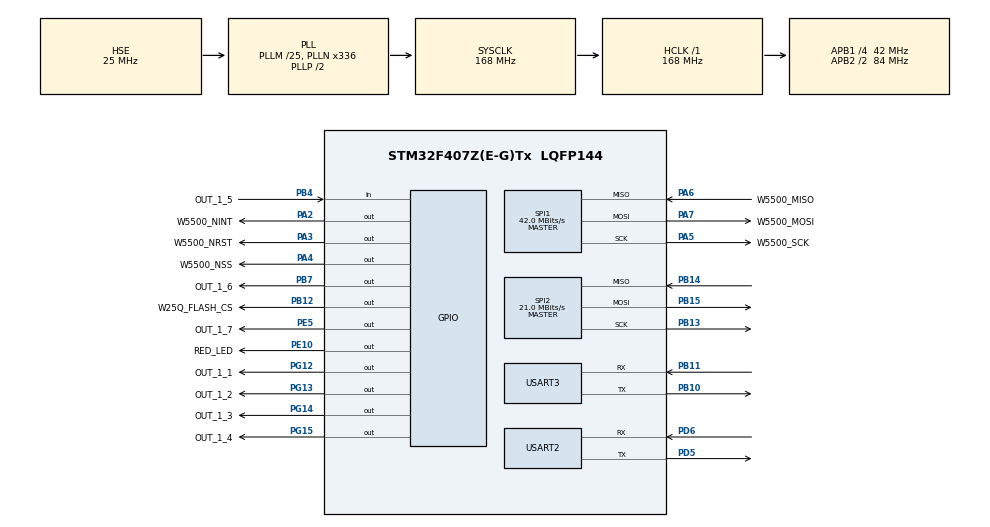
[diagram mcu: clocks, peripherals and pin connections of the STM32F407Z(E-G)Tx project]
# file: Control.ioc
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Dma.Request0=SPI1_RX
Dma.Request1=SPI1_TX
Dma.Request2=USART2_RX
Dma.Request3=USART2_TX
Dma.Request4=USART3_RX
Dma.Request5=USART3_TX
Dma.SPI1_RX.0.Direction=DMA_PERIPH_TO_MEMORY
Dma.SPI1_RX.0.FIFOMode=DMA_FIFOMODE_DISABLE
Dma.SPI1_RX.0.Instance=DMA2_Stream0
Dma.SPI1_RX.0.MemDataAlignment=DMA_MDATAALIGN_BYTE
Dma.SPI1_RX.0.MemInc=DMA_MINC_ENABLE
Dma.SPI1_RX.0.Mode=DMA_NORMAL
Dma.SPI1_RX.0.PeriphDataAlignment=DMA_PDATAALIGN_BYTE
Dma.SPI1_RX.0.PeriphInc=DMA_PINC_DISABLE
Dma.SPI1_RX.0.Priority=DMA_PRIORITY_MEDIUM
Dma.SPI1_TX.1.Direction=DMA_MEMORY_TO_PERIPH
Dma.SPI1_TX.1.FIFOMode=DMA_FIFOMODE_DISABLE
Dma.SPI1_TX.1.Instance=DMA2_Stream3
Dma.SPI1_TX.1.MemDataAlignment=DMA_MDATAALIGN_BYTE
Dma.SPI1_TX.1.MemInc=DMA_MINC_ENABLE
Dma.SPI1_TX.1.Mode=DMA_NORMAL
Dma.SPI1_TX.1.PeriphDataAlignment=DMA_PDATAALIGN_BYTE
Dma.SPI1_TX.1.PeriphInc=DMA_PINC_DISABLE
Dma.SPI1_TX.1.Priority=DMA_PRIORITY_HIGH
Dma.USART2_RX.2.Direction=DMA_PERIPH_TO_MEMORY
Dma.USART2_RX.2.FIFOMode=DMA_FIFOMODE_DISABLE
Dma.USART2_RX.2.Instance=DMA1_Stream5
Dma.USART2_RX.2.MemDataAlignment=DMA_MDATAALIGN_BYTE
Dma.USART2_RX.2.MemInc=DMA_MINC_ENABLE
Dma.USART2_RX.2.Mode=DMA_NORMAL
Dma.USART2_RX.2.PeriphDataAlignment=DMA_PDATAALIGN_BYTE
Dma.USART2_RX.2.PeriphInc=DMA_PINC_DISABLE
Dma.USART2_RX.2.Priority=DMA_PRIORITY_MEDIUM
Dma.USART2_TX.3.Direction=DMA_MEMORY_TO_PERIPH
Dma.USART2_TX.3.FIFOMode=DMA_FIFOMODE_DISABLE
Dma.USART2_TX.3.Instance=DMA1_Stream6
Dma.USART2_TX.3.MemDataAlignment=DMA_MDATAALIGN_BYTE
Dma.USART2_TX.3.MemInc=DMA_MINC_ENABLE
Dma.USART2_TX.3.Mode=DMA_NORMAL
Dma.USART2_TX.3.PeriphDataAlignment=DMA_PDATAALIGN_BYTE
Dma.USART2_TX.3.PeriphInc=DMA_PINC_DISABLE
Dma.USART2_TX.3.Priority=DMA_PRIORITY_MEDIUM
Dma.USART3_RX.4.Direction=DMA_PERIPH_TO_MEMORY
Dma.USART3_RX.4.FIFOMode=DMA_FIFOMODE_DISABLE
Dma.USART3_RX.4.Instance=DMA1_Stream1
Dma.USART3_RX.4.MemDataAlignment=DMA_MDATAALIGN_BYTE
Dma.USART3_RX.4.MemInc=DMA_MINC_ENABLE
Dma.USART3_RX.4.Mode=DMA_NORMAL
Dma.USART3_RX.4.PeriphDataAlignment=DMA_PDATAALIGN_BYTE
Dma.USART3_RX.4.PeriphInc=DMA_PINC_DISABLE
Dma.USART3_RX.4.Priority=DMA_PRIORITY_MEDIUM
Dma.USART3_TX.5.Direction=DMA_MEMORY_TO_PERIPH
Dma.USART3_TX.5.FIFOMode=DMA_FIFOMODE_DISABLE
Dma.USART3_TX.5.Instance=DMA1_Stream3
Dma.USART3_TX.5.MemDataAlignment=DMA_MDATAALIGN_BYTE
Dma.USART3_TX.5.MemInc=DMA_MINC_ENABLE
Dma.USART3_TX.5.Mode=DMA_NORMAL
Dma.USART3_TX.5.PeriphDataAlignment=DMA_PDATAALIGN_BYTE
Dma.USART3_TX.5.PeriphInc=DMA_PINC_DISABLE
Dma.USART3_TX.5.Priority=DMA_PRIORITY_MEDIUM
Mcu.Family=STM32F4
Mcu.Name=STM32F407Z(E-G)Tx
Mcu.Package=LQFP144
NVIC.DMA1_Stream1_IRQn=true\:0\:0\:false\:false\:true\:false\:true
NVIC.DMA1_Stream3_IRQn=true\:0\:0\:false\:false\:true\:false\:true
NVIC.DMA1_Stream5_IRQn=true\:0\:0\:false\:false\:true\:false\:true
NVIC.DMA1_Stream6_IRQn=true\:0\:0\:false\:false\:true\:false\:true
NVIC.DMA2_Stream0_IRQn=true\:0\:0\:false\:false\:true\:false\:true
NVIC.DMA2_Stream3_IRQn=true\:0\:0\:false\:false\:true\:false\:true
NVIC.PriorityGroup=NVIC_PRIORITYGROUP_4
NVIC.TIM2_IRQn=true\:0\:0\:false\:false\:true\:true\:true
NVIC.TIM3_IRQn=true\:0\:0\:false\:false\:true\:true\:true
NVIC.TIM4_IRQn=true\:0\:0\:false\:false\:true\:true\:true
NVIC.TIM5_IRQn=true\:0\:0\:false\:false\:true\:true\:true
NVIC.USART2_IRQn=true\:0\:0\:false\:false\:true\:true\:true
NVIC.USART3_IRQn=true\:0\:0\:false\:false\:true\:true\:true
PA13.Mode=Serial_Wire
PA13.Signal=SYS_JTMS-SWDIO
PA14.Mode=Serial_Wire
PA14.Signal=SYS_JTCK-SWCLK
PA2.GPIO_Label=W5500_NINT
PA2.GPIO_PuPd=GPIO_PULLUP
PA2.PinState=GPIO_PIN_SET
PA2.Signal=GPIO_Output
PA3.GPIO_Label=W5500_NRST
PA3.GPIO_PuPd=GPIO_PULLUP
PA3.GPIO_Speed=GPIO_SPEED_FREQ_LOW
PA3.PinState=GPIO_PIN_SET
PA3.Signal=GPIO_Output
PA4.GPIO_Label=W5500_NSS
PA4.GPIO_PuPd=GPIO_PULLDOWN
PA4.Signal=GPIO_Output
PA5.GPIO_Label=W5500_SCK
PA5.Mode=Full_Duplex_Master
PA5.Signal=SPI1_SCK
PA6.GPIO_Label=W5500_MISO
PA6.Mode=Full_Duplex_Master
PA6.Signal=SPI1_MISO
PA7.GPIO_Label=W5500_MOSI
PA7.Mode=Full_Duplex_Master
PA7.Signal=SPI1_MOSI
PB10.Mode=Asynchronous
PB10.Signal=USART3_TX
PB11.Mode=Asynchronous
PB11.Signal=USART3_RX
PB12.GPIO_Label=W25Q_FLASH_CS
PB12.GPIO_PuPd=GPIO_PULLUP
PB12.Signal=GPIO_Output
PB13.Mode=Full_Duplex_Master
PB13.Signal=SPI2_SCK
PB14.Mode=Full_Duplex_Master
PB14.Signal=SPI2_MISO
PB15.Mode=Full_Duplex_Master
PB15.Signal=SPI2_MOSI
PB4.GPIO_Label=OUT_1_5
PB4.Signal=GPIO_Input
PB7.GPIO_Label=OUT_1_6
PB7.Signal=GPIO_Output
PD5.Mode=Asynchronous
PD5.Signal=USART2_TX
PD6.Mode=Asynchronous
PD6.Signal=USART2_RX
PE10.GPIO_Label=RED_LED
PE10.GPIO_ModeDefaultOutputPP=GPIO_MODE_OUTPUT_PP
PE10.GPIO_PuPd=GPIO_PULLUP
PE10.PinState=GPIO_PIN_RESET
PE10.Signal=GPIO_Output
PE5.GPIO_Label=OUT_1_7
PE5.Signal=GPIO_Output
PG12.GPIO_Label=OUT_1_1
PG12.GPIO_ModeDefaultOutputPP=GPIO_MODE_OUTPUT_PP
PG12.GPIO_PuPd=GPIO_PULLUP
PG12.PinState=GPIO_PIN_RESET
PG12.Signal=GPIO_Output
PG13.GPIO_Label=OUT_1_2
PG13.GPIO_ModeDefaultOutputPP=GPIO_MODE_OUTPUT_PP
PG13.GPIO_PuPd=GPIO_PULLUP
PG13.PinState=GPIO_PIN_RESET
PG13.Signal=GPIO_Output
PG14.GPIO_Label=OUT_1_3
PG14.GPIO_ModeDefaultOutputPP=GPIO_MODE_OUTPUT_PP
PG14.GPIO_PuPd=GPIO_PULLUP
PG14.Signal=GPIO_Output
PG15.GPIO_Label=OUT_1_4
PG15.Signal=GPIO_Output
PH0-OSC_IN.Mode=HSE-External-Oscillator
PH0-OSC_IN.Signal=RCC_OSC_IN
PH1-OSC_OUT.Mode=HSE-External-Oscillator
PH1-OSC_OUT.Signal=RCC_OSC_OUT
ProjectManager.HeapSize=0x200
ProjectManager.StackSize=0x400
ProjectManager.TargetToolchain=MDK-ARM V5
RCC.48MHZClocksFreq_Value=84000000
RCC.AHBFreq_Value=168000000
RCC.APB1CLKDivider=RCC_HCLK_DIV4
RCC.APB1Freq_Value=42000000
RCC.APB1TimFreq_Value=84000000
RCC.APB2CLKDivider=RCC_HCLK_DIV2
RCC.APB2Freq_Value=84000000
RCC.APB2TimFreq_Value=168000000
RCC.CortexFreq_Value=168000000
RCC.HCLKFreq_Value=168000000
RCC.HSE_VALUE=25000000
RCC.HSI_VALUE=16000000
RCC.LSE_VALUE=32768
RCC.PLLM=25
RCC.PLLN=336
RCC.PLLSourceVirtual=RCC_PLLSOURCE_HSE
RCC.SYSCLKFreq_VALUE=168000000
RCC.SYSCLKSource=RCC_SYSCLKSOURCE_PLLCLK
RCC.VCOOutputFreq_Value=336000000
SPI1.CalculateBaudRate=42.0 MBits/s
SPI1.Direction=SPI_DIRECTION_2LINES
SPI1.Mode=SPI_MODE_MASTER
SPI1.VirtualType=VM_MASTER
SPI2.CalculateBaudRate=21.0 MBits/s
SPI2.Direction=SPI_DIRECTION_2LINES
SPI2.Mode=SPI_MODE_MASTER
SPI2.VirtualType=VM_MASTER
TIM2.Period=99
TIM2.Prescaler=83
TIM3.Period=99
TIM3.Prescaler=83
TIM4.Period=99
TIM4.Prescaler=83
TIM5.Period=99
TIM5.Prescaler=83
USART2.VirtualMode=VM_ASYNC
USART3.VirtualMode=VM_ASYNC
VP_TIM2_VS_ClockSourceINT.Mode=Internal
VP_TIM3_VS_ClockSourceINT.Mode=Internal
VP_TIM4_VS_ClockSourceINT.Mode=Internal
VP_TIM5_VS_ClockSourceINT.Mode=Internal
board=custom

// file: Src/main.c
/* USER CODE BEGIN Header */
/**
  ******************************************************************************
  * @file           : main.c
  * @brief          : Main program body
  ******************************************************************************
  * @attention
  *
  * <h2><center>&copy; Copyright (c) 2020 STMicroelectronics.
  * All rights reserved.</center></h2>
  *
  * This software component is licensed by ST under BSD 3-Clause license,
  * the "License"; You may not use this file except in compliance with the
  * License. You may obtain a copy of the License at:
  *                        opensource.org/licenses/BSD-3-Clause
  *
  ******************************************************************************
  */
/* USER CODE END Header */

#include "main.h"
#include "dma.h"
#include "spi.h"
#include "tim.h"
#include "usart.h"
#include "gpio.h"

/* USER CODE BEGIN Includes */
#include "delay.h"
#include "bsp_w5500.h"
#include "app_ethernet.h"
/* USER CODE END Includes */

/* USER CODE BEGIN PV */
extern char RxBuffer[RXBUFFERSIZE]; 	//接收数据
extern u8 aRxBuffer;			 	 	//接收中断缓冲
extern u8 Uart3_Rx_Cnt;		 	//接收缓冲计数

u8 Test[] = "\r\n**** Serial Output Message by DMA ***\r\n   UART DMA Test \r\n   Zxiaoxuan";  //定义数据发送数组
/* USER CODE END PV */

void SystemClock_Config(void);

int main(void)
{

  /* MCU Configuration--------------------------------------------------------*/

  /* Reset of all peripherals, Initializes the Flash interface and the Systick. */
  HAL_Init();

  /* Configure the system clock */
  SystemClock_Config();

  /* USER CODE BEGIN SysInit */
  delay_config();
  /* USER CODE END SysInit */

  /* Initialize all configured peripherals */
  MX_GPIO_Init();
  MX_DMA_Init();
  MX_USART3_UART_Init();
  MX_SPI1_Init();
  MX_SPI2_Init();
  MX_TIM2_Init();
  MX_TIM3_Init();
  MX_TIM4_Init();
  MX_TIM5_Init();
  MX_USART2_UART_Init();
  /* USER CODE BEGIN 2 */
  HAL_TIM_Base_Start_IT(&htim2); 	//使能定时器2
  HAL_TIM_Base_Start_IT(&htim3);
  HAL_TIM_Base_Start_IT(&htim4);
  HAL_TIM_Base_Start_IT(&htim5);
  HAL_UART_Receive_IT(&huart2, (uint8_t *)&aRxBuffer, 1);   //开启接收中断
  //HAL_UART_Receive_IT(&huart3, (uint8_t *)&aRxBuffer, 1);   //开启接收中断

  SPI1_SetSpeed(SPI_BAUDRATEPRESCALER_4); //设置为21M时钟,高速模式

  W5500_Init();
  App_EthernetInitConfig();

  /* Infinite loop */

  /* USER CODE END 2 */

  /* Infinite loop */
  while (1)
  {
	App_EthernetServiceFunc();
	User_1();
  }
}

void SystemClock_Config(void)
{
  RCC_OscInitTypeDef RCC_OscInitStruct = {0};
  RCC_ClkInitTypeDef RCC_ClkInitStruct = {0};

  /** Configure the main internal regulator output voltage
  */
  __HAL_RCC_PWR_CLK_ENABLE();
  __HAL_PWR_VOLTAGESCALING_CONFIG(PWR_REGULATOR_VOLTAGE_SCALE1);
  /** Initializes the CPU, AHB and APB busses clocks
  */
  RCC_OscInitStruct.OscillatorType = RCC_OSCILLATORTYPE_HSE;
  RCC_OscInitStruct.HSEState = RCC_HSE_ON;
  RCC_OscInitStruct.PLL.PLLState = RCC_PLL_ON;
  RCC_OscInitStruct.PLL.PLLSource = RCC_PLLSOURCE_HSE;
  RCC_OscInitStruct.PLL.PLLM = 25;
  RCC_OscInitStruct.PLL.PLLN = 336;
  RCC_OscInitStruct.PLL.PLLP = RCC_PLLP_DIV2;
  RCC_OscInitStruct.PLL.PLLQ = 4;
  if (HAL_RCC_OscConfig(&RCC_OscInitStruct) != HAL_OK)
  {
    Error_Handler();
  }
  /** Initializes the CPU, AHB and APB busses clocks
  */
  RCC_ClkInitStruct.ClockType = RCC_CLOCKTYPE_HCLK|RCC_CLOCKTYPE_SYSCLK
                              |RCC_CLOCKTYPE_PCLK1|RCC_CLOCKTYPE_PCLK2;
  RCC_ClkInitStruct.SYSCLKSource = RCC_SYSCLKSOURCE_PLLCLK;
  RCC_ClkInitStruct.AHBCLKDivider = RCC_SYSCLK_DIV1;
  RCC_ClkInitStruct.APB1CLKDivider = RCC_HCLK_DIV4;
  RCC_ClkInitStruct.APB2CLKDivider = RCC_HCLK_DIV2;

  if (HAL_RCC_ClockConfig(&RCC_ClkInitStruct, FLASH_LATENCY_5) != HAL_OK)
  {
    Error_Handler();
  }
}

/* USER CODE BEGIN 4 */
void User_1(void)
{
	//HAL_UART_Transmit(&huart2, (uint8_t *)Test,sizeof(Test),0xFF);////串口发送Senbuff数组
	//HAL_UART_Transmit_DMA(&huart3, (uint8_t *)Test, sizeof(Test));////串口发送Senbuff数组
	HAL_GPIO_TogglePin(RED_LED_GPIO_Port,RED_LED_Pin);
	delay_ms(1000);
}
/* USER CODE END 4 */

void Error_Handler(void)
{
}

/************************ (C) COPYRIGHT STMicroelectronics *****END OF FILE****/
